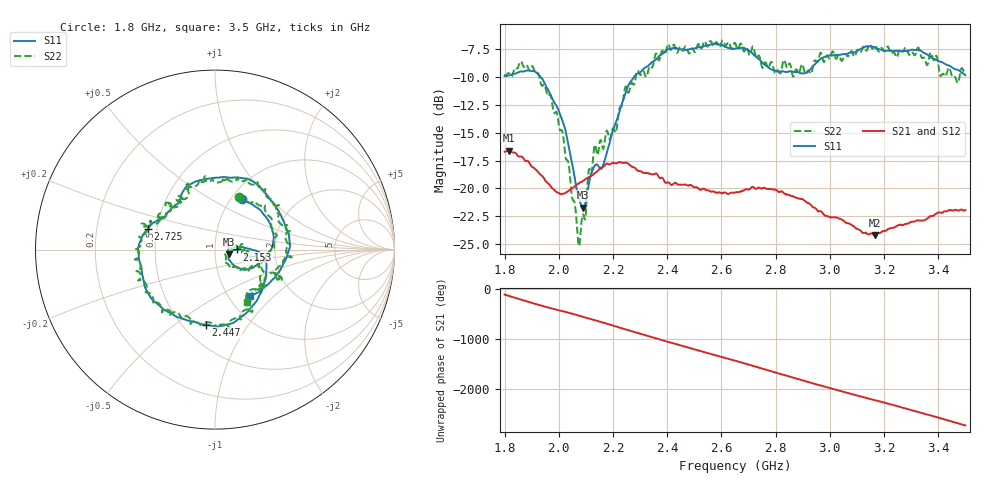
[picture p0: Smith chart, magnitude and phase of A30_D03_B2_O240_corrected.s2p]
! Created with skrf 1.9.0 (http://scikit-rf.org).
# Hz S RI R 50.0
!freq ReS11 ImS11 ReS21 ImS21 ReS12 ImS12 ReS22 ImS22
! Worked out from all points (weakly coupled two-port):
!   1601 points, 1.8 GHz to 3.5 GHz, reference 50 ohm
!   highest |S21| = -16.62 dB at 1.817 GHz (marker M1); lowest = -24.2 dB at 3.165 GHz (marker M2)
!   lowest |S11| = -21.7 dB at 2.09 GHz (marker M3), VSWR 1.18, Z = 58.4 - j3 ohm
!   |S11| at or under -10 dB: 1.934 GHz to 2.277 GHz (343.2 MHz wide, 16.3 % of centre)
!   |S22| runs from -25.2 to -6.7 dB; largest |S21 - S12| = 0.0025
!   S11 on the Smith chart (normalised r, x): 1.8 GHz: 1.12, +0.71; 2.153 GHz: 1.28, +0.00; 2.447 GHz: 0.64, -0.65; 2.725 GHz: 0.45, +0.12; 3.5 GHz: 1.25, -0.72
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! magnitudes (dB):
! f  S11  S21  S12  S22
! 1.8 GHz  -9.8  -16.7  -16.7  -9.9
! 1.817 GHz  -9.8  -16.6  -16.6  -9.7
! 1.903 GHz  -9.5  -18.1  -18.1  -9.0
! 1.968 GHz  -11.5  -19.7  -19.8  -11.6
! 2.015 GHz  -14.0  -20.5  -20.5  -15.0
! 2.072 GHz  -20.7  -19.6  -19.6  -25.0
! 2.084 GHz  -21.5  -19.4  -19.4  -23.0
! 2.09 GHz  -21.7  -19.3  -19.4  -22.3
! 2.13 GHz  -18.1  -18.7  -18.7  -16.3
! 2.153 GHz  -18.2  -18.2  -18.2  -15.7
! 2.209 GHz  -14.2  -17.8  -17.7  -15.0
! 2.259 GHz  -10.6  -17.8  -17.8  -11.3
! 2.367 GHz  -8.2  -18.9  -18.9  -8.5
! 2.447 GHz  -7.5  -19.7  -19.7  -7.3
! 2.65 GHz  -7.4  -20.4  -20.3  -6.9
! 2.725 GHz  -8.1  -20.0  -20.0  -8.1
! 2.934 GHz  -9.1  -21.6  -21.6  -9.5
! 3.165 GHz  -7.3  -24.2  -24.2  -7.2
! 3.217 GHz  -7.6  -23.6  -23.6  -7.4
! 3.376 GHz  -8.3  -22.5  -22.5  -7.9
! 3.468 GHz  -9.3  -21.9  -21.9  -10.4
! 3.5 GHz  -9.8  -21.9  -21.9  -9.3
